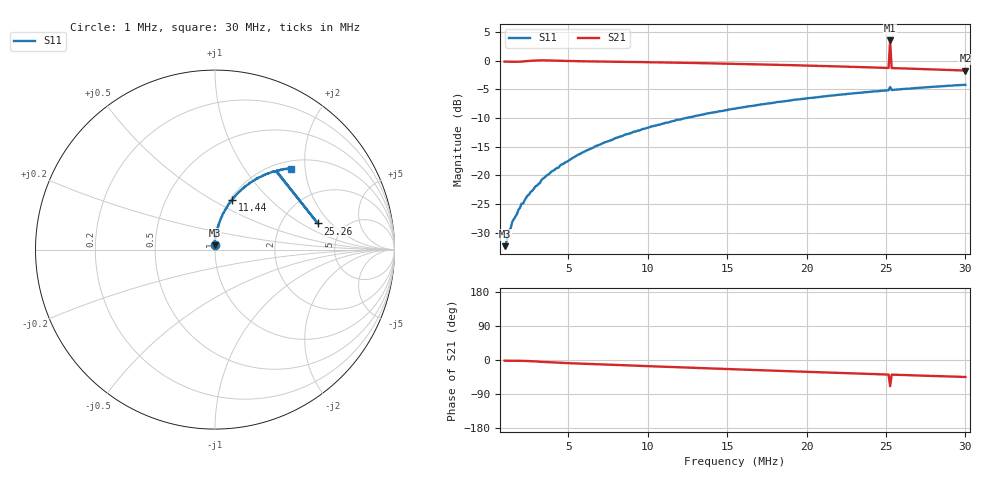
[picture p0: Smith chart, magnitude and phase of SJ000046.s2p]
!File created by NanoVNA-F V2
# Hz S RI R 50
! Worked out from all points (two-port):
!   301 points, 1 MHz to 30 MHz, reference 50 ohm
!   highest |S21| = 3.56 dB at 25.26 MHz (marker M1); lowest = -1.7 dB at 30 MHz (marker M2)
!   |S21| within 3 dB of the highest: 25.20281 MHz to 25.32328 MHz (120.5 kHz wide, 0.477 % of centre)
!   lowest |S11| = -32.4 dB at 1 MHz (marker M3), VSWR 1.05, Z = 49.8 + j2.4 ohm
!   |S11| at or under -10 dB: start of sweep to 12.39 MHz
!   S12 and S22 are empty: the file has one direction only
!   S11 on the Smith chart (normalised r, x): 1 MHz: 1.00, +0.05; 11.44 MHz: 1.02, +0.62; 25.26 MHz: 3.20, +1.43; 30 MHz: 1.15, +1.68
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1000000  -0.00131 0.024  0.9836 -0.0292  0 0  0 0
1096666  -0.00329 0.0256  0.9829 -0.0318  0 0  0 0
1289998  -0.00258 0.0333  0.9804 -0.0335  0 0  0 0
1386664  -0.00113 0.0345  0.9802 -0.0339  0 0  0 0
1483330  -0.00296 0.0392  0.9789 -0.0348  0 0  0 0
1773328  -0.000673 0.0458  0.9796 -0.0369  0 0  0 0
2063326  -0.00079 0.0564  0.9835 -0.0374  0 0  0 0
2159992  0.000283 0.0567  0.9857 -0.0377  0 0  0 0
2643322  0.00382 0.0718  1.002 -0.0522  0 0  0 0
3223318  0.00653 0.0854  1.006 -0.0809  0 0  0 0
3416650  0.00799 0.0935  1.006 -0.0905  0 0  0 0
3996646  0.0112 0.1084  0.999 -0.1143  0 0  0 0
5833300  0.0258 0.1544  0.9781 -0.1672  0 0  0 0
8539948  0.0556 0.2189  0.9512 -0.2345  0 0  0 0
1.06666e7  0.0837 0.2632  0.9256 -0.2861  0 0  0 0
1.143993e7  0.0948 0.2778  0.9156 -0.3044  0 0  0 0
1.54999e7  0.1613 0.346  0.8557 -0.3902  0 0  0 0
2.03332e7  0.2503 0.4042  0.7715 -0.4759  0 0  0 0
2.51665e7  0.3389 0.4383  0.678 -0.539  0 0  0 0
2.526317e7  0.573 0.1455  0.5367 -1.407  0 0  0 0
2.535983e7  0.3425 0.4384  0.6747 -0.5399  0 0  0 0
2.99998e7  0.4212 0.4515  0.5837 -0.5789  0 0  0 0
